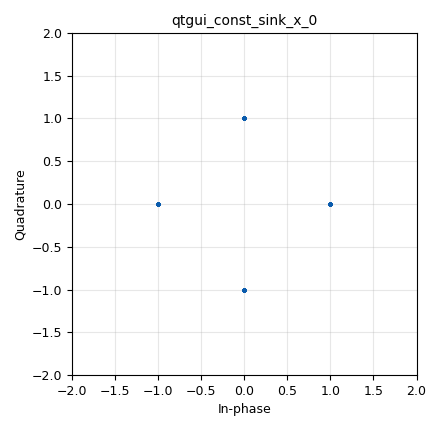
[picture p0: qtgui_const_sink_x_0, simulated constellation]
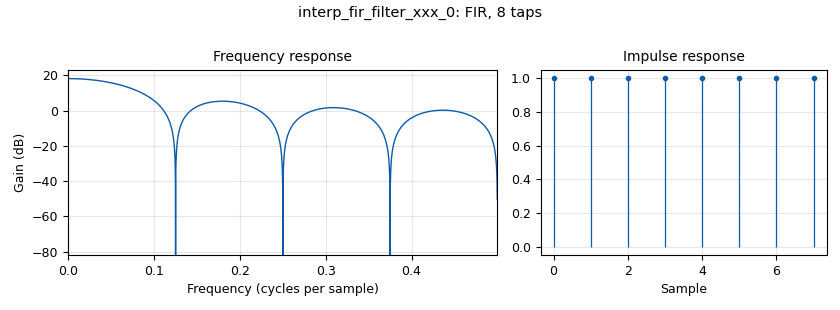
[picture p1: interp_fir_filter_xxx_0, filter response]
options:
  parameters:
    generate_options: qt_gui
    id: MPSK
    output_language: python
    title: Not titled yet
  states: {}

blocks:
- name: M
  id: variable
  parameters:
    value: len(Tabla_de_verdad)
  states: {}
- name: Rb
  id: variable
  parameters:
    value: bps*Rs
  states: {}
- name: Rs
  id: variable
  parameters:
    value: int(32000)
  states: {}
- name: Sps
  id: variable
  parameters:
    value: len(h)
  states: {}
- name: Tabla_de_verdad
  id: variable
  parameters:
    value: (1+0j, 0+1j, 0-1j,-1-0j )
  states: {}
- name: bps
  id: variable
  parameters:
    value: int(math.log(M,2))
  states: {}
- name: h
  id: variable
  parameters:
    value: (1,1,1,1,1,1,1,1)
  states: {}
- name: samp_rate
  id: variable
  parameters:
    value: Rs*Sps
  states: {}
- name: analog_random_source_x_0
  id: analog_random_source_x
  parameters:
    max: '2'
    min: '0'
    num_samps: '1000'
    repeat: 'True'
    type: byte
  states: {}
- name: blocks_char_to_float_0
  id: blocks_char_to_float
  parameters:
    scale: '1'
  states: {state: disabled}
- name: blocks_repack_bits_bb_0
  id: blocks_repack_bits_bb
  parameters:
    endianness: gr.GR_LSB_FIRST
    k: '1'
    l: bps
  states: {}
- name: blocks_vector_source_x_0
  id: blocks_vector_source_x
  parameters:
    repeat: 'True'
    type: int
    vector: (0, 1, 2, 3)
  states: {state: disabled}
- name: digital_chunks_to_symbols_xx_0
  id: digital_chunks_to_symbols_xx
  parameters:
    dimension: '1'
    in_type: byte
    out_type: complex
    symbol_table: Tabla_de_verdad
  states: {}
- name: import_0
  id: import
  parameters:
    imports: import math
  states: {}
- name: interp_fir_filter_xxx_0
  id: interp_fir_filter_xxx
  parameters:
    interp: Sps
    taps: h
    type: ccc
  states: {}
- name: qtgui_const_sink_x_0
  id: qtgui_const_sink_x
  parameters:
    size: '1024'
    type: complex
  states: {}
- name: qtgui_freq_sink_x_0
  id: qtgui_freq_sink_x
  parameters:
    average: '0.05'
    bw: samp_rate
    fc: '0'
    fftsize: '1024'
    type: complex
  states: {state: disabled}
- name: qtgui_time_sink_x_0
  id: qtgui_time_sink_x
  parameters:
    label1: EC-RE
    label2: EC-IM
    size: '1024'
    srate: samp_rate
    type: complex
  states: {state: disabled}
- name: qtgui_time_sink_x_0_0
  id: qtgui_time_sink_x
  parameters:
    label1: Binary Source
    marker1: '0'
    size: '32'
    srate: Rs
    stemplot: 'True'
    type: float
    width1: '3'
  states: {state: disabled}

connections:
- [analog_random_source_x_0, '0', blocks_char_to_float_0, '0']
- [analog_random_source_x_0, '0', blocks_repack_bits_bb_0, '0']
- [blocks_char_to_float_0, '0', qtgui_time_sink_x_0_0, '0']
- [blocks_repack_bits_bb_0, '0', digital_chunks_to_symbols_xx_0, '0']
- [digital_chunks_to_symbols_xx_0, '0', interp_fir_filter_xxx_0, '0']
- [interp_fir_filter_xxx_0, '0', qtgui_const_sink_x_0, '0']
- [interp_fir_filter_xxx_0, '0', qtgui_freq_sink_x_0, '0']
- [interp_fir_filter_xxx_0, '0', qtgui_time_sink_x_0, '0']

metadata:
  file_format: 1
  grc_version: 3.10.12.0
